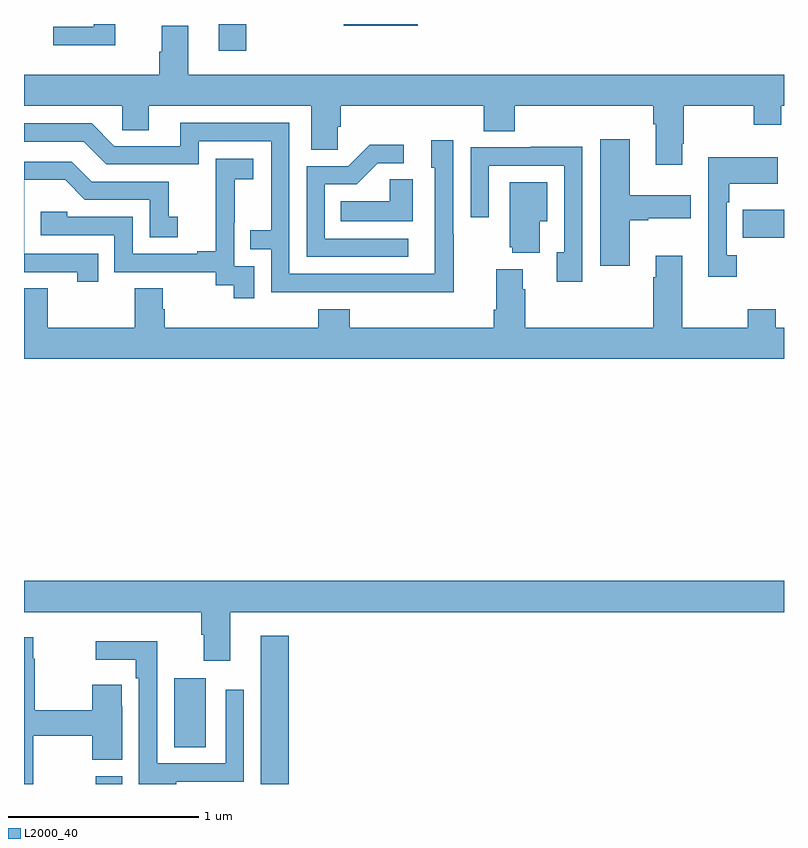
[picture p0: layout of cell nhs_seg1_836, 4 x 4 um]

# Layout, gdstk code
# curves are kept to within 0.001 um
import gdstk
lib = gdstk.Library(unit=1e-6, precision=1e-09)
def R(c, l, rs):  # rectangles x0, y0, x1, y1
    for r in rs: c.add(gdstk.rectangle(r[:2], r[2:], *l))
def P(c, l, *ps):  # polygons
    for p in ps: c.add(gdstk.Polygon(p, *l))
L2000_40 = (2000, 40)

nhs_seg1_836 = lib.new_cell('nhs_seg1_836')
R(nhs_seg1_836, L2000_40, [(157.378,512.199,157.516,512.241), (158.246,512.199,158.393,512.98), (157.79,512.392,157.957,512.755), (160.783,515.074,161,515.221), (158.024,516.057,158.171,516.199), (158.684,516.191,159.073,516.199)])
P(nhs_seg1_836, L2000_40, [(157.479,516.199),(157.367,516.199),(157.367,516.184),(157.155,516.184),(157.155,516.086),(157.479,516.086)],
  [(160.465,515.569),(160.473,515.569),(160.473,515.768),(160.84,515.768),(160.84,515.669),(160.986,515.669),(160.986,515.768),(161,515.768),(161,515.932),(157.864,515.932),(157.864,516.19),(157.724,516.19),(157.724,516.053),(157.712,516.053),(157.712,515.932),(157,515.932),(157,515.768),(157.518,515.768),(157.518,515.641),(157.657,515.641),(157.657,515.768),(158.513,515.768),(158.513,515.536),(158.652,515.536),(158.652,515.659),(158.666,515.659),(158.666,515.768),(159.419,515.768),(159.419,515.635),(159.584,515.635),(159.584,515.768),(160.313,515.768),(160.313,515.672),(160.325,515.672),(160.325,515.457),(160.465,515.457)],
  [(159.261,515.093),(159.258,515.093),(159.258,515.587),(159.143,515.587),(159.143,515.442),(159.162,515.442),(159.162,514.884),(158.397,514.884),(158.397,515.679),(157.823,515.679),(157.823,515.556),(157.476,515.556),(157.356,515.676),(157,515.676),(157,515.58),(157.314,515.58),(157.434,515.46),(157.92,515.46),(157.92,515.583),(158.301,515.583),(158.301,515.114),(158.191,515.114),(158.191,515.013),(158.301,515.013),(158.301,514.788),(159.261,514.787)],
  [(160.189,515.165),(160.285,515.165),(160.285,515.177),(160.51,515.177),(160.51,515.299),(160.189,515.299),(160.189,515.593),(160.034,515.593),(160.034,514.926),(160.189,514.926)],
  [(159.022,515.07),(158.583,515.07),(158.583,515.355),(158.752,515.355),(158.863,515.466),(158.998,515.466),(158.998,515.564),(158.819,515.564),(158.706,515.451),(158.487,515.451),(158.487,514.974),(159.022,514.974)],
  [(159.939,515.552),(159.667,515.552),(159.667,515.55),(159.351,515.55),(159.351,515.181),(159.447,515.181),(159.447,515.454),(159.843,515.454),(159.843,514.998),(159.803,514.998),(159.803,514.842),(159.939,514.842)],
  [(160.75,514.982),(160.698,514.982),(160.698,515.261),(160.711,515.261),(160.711,515.357),(160.967,515.357),(160.967,515.497),(160.602,515.497),(160.602,515.081),(160.601,515.081),(160.601,514.869),(160.75,514.869)],
  [(158.211,514.923),(158.106,514.923),(158.106,515.153),(158.108,515.153),(158.108,515.381),(158.206,515.381),(158.206,515.491),(158.008,515.491),(158.008,515.285),(158.009,515.285),(158.009,515.002),(157.913,515.002),(157.913,514.989),(157.572,514.989),(157.572,515.184),(157.227,515.184),(157.227,515.211),(157.087,515.211),(157.087,515.088),(157.476,515.088),(157.476,514.893),(158.01,514.893),(158.01,514.825),(158.103,514.825),(158.103,514.755),(158.211,514.755)],
  [(157.391,514.989),(157.002,514.989),(157.002,515.378),(157.216,515.378),(157.32,515.274),(157.662,515.274),(157.662,515.076),(157.81,515.076),(157.81,515.185),(157.761,515.185),(157.761,515.37),(157.357,515.37),(157.252,515.475),(157,515.475),(157,514.893),(157.28,514.893),(157.28,514.842),(157.391,514.842)],
  [(159.046,515.381),(158.925,515.381),(158.925,515.266),(158.668,515.266),(158.668,515.162),(159.046,515.162)],
  [(159.715,515.162),(159.754,515.162),(159.754,515.365),(159.557,515.365),(159.557,515.025),(159.569,515.025),(159.569,514.994),(159.715,514.994)],
  [(161,514.6),(160.957,514.6),(160.957,514.699),(160.81,514.699),(160.81,514.6),(160.465,514.6),(160.465,514.978),(160.325,514.978),(160.325,514.865),(160.313,514.865),(160.313,514.6),(159.638,514.6),(159.638,514.802),(159.625,514.802),(159.625,514.909),(159.485,514.909),(159.485,514.696),(159.473,514.696),(159.473,514.6),(158.714,514.6),(158.714,514.699),(158.549,514.699),(158.549,514.6),(157.742,514.6),(157.742,514.698),(157.729,514.698),(157.729,514.808),(157.582,514.808),(157.582,514.6),(157.125,514.6),(157.125,514.808),(157,514.808),(157,514.436),(161,514.436)],
  [(158.086,513.104),(161,513.104),(161,513.268),(157,513.268),(157,513.104),(157.934,513.104),(157.934,512.984),(157.946,512.984),(157.946,512.847),(158.086,512.847)],
  [(157.048,512.452),(157.36,512.452),(157.36,512.326),(157.516,512.326),(157.516,512.609),(157.515,512.609),(157.515,512.722),(157.36,512.722),(157.36,512.588),(157.056,512.588),(157.056,512.858),(157.048,512.858),(157.048,512.971),(157,512.971),(157,512.199),(157.048,512.199)],
  [(157.801,512.211),(158.157,512.211),(158.157,512.695),(158.061,512.695),(158.061,512.307),(157.701,512.307),(157.701,512.95),(157.377,512.95),(157.377,512.852),(157.589,512.852),(157.589,512.756),(157.605,512.756),(157.605,512.199),(157.801,512.199)])

lib.write_gds('nhs_seg1_836.gds')
